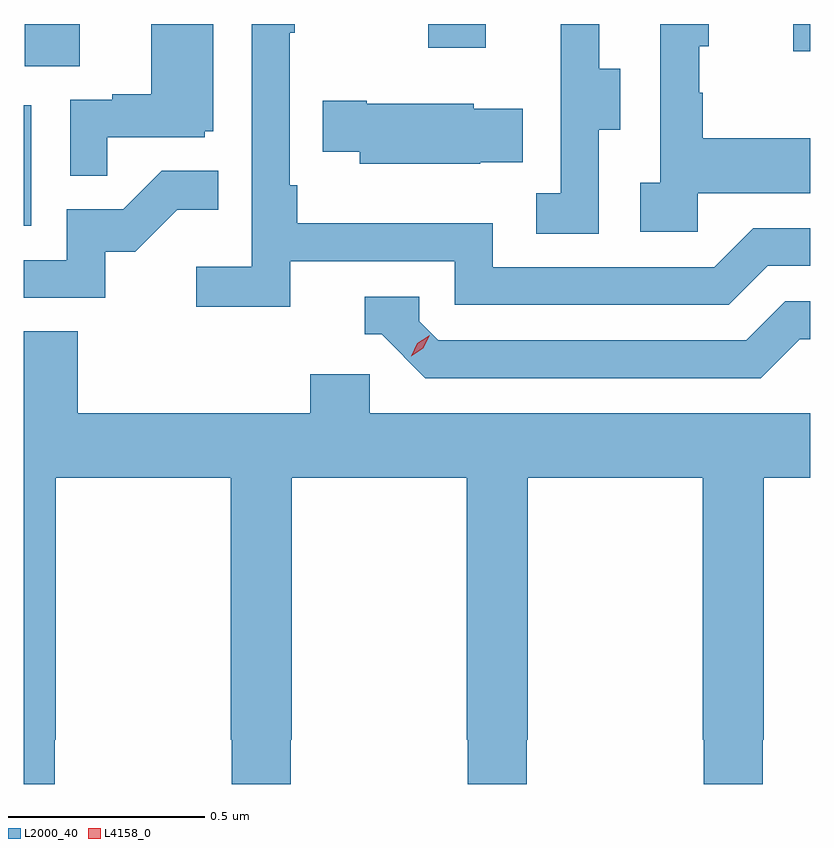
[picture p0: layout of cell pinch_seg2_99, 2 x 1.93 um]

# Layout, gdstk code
import gdstk
lib = gdstk.Library(unit=1e-6, precision=1e-09)
def R(c, l, rs):  # rectangles x0, y0, x1, y1
    for r in rs: c.add(gdstk.rectangle(r[:2], r[2:], *l))
def P(c, l, *ps):  # polygons
    for p in ps: c.add(gdstk.Polygon(p, *l))
L2000_40 = (2000, 40)
L4158_0 = (4158, 0)

pinch_seg2_99 = lib.new_cell('pinch_seg2_99')
R(pinch_seg2_99, L2000_40, [(1036.814,632.292,1036.834,632.599), (1036.817,632.698,1036.957,632.805), (1038.77,632.736,1038.814,632.805), (1037.842,632.745,1037.989,632.805)])
P(pinch_seg2_99, L2000_40, [(1037.492,632.202),(1037.91,632.202),(1037.91,632.091),(1038.607,632.091),(1038.706,632.19),(1038.814,632.19),(1038.814,632.286),(1038.669,632.286),(1038.57,632.187),(1038.006,632.187),(1038.006,632.299),(1037.51,632.299),(1037.51,632.395),(1037.49,632.395),(1037.49,632.783),(1037.503,632.783),(1037.503,632.805),(1037.394,632.805),(1037.394,632.188),(1037.253,632.188),(1037.253,632.086),(1037.492,632.086)],
  [(1038.528,632.375),(1038.814,632.375),(1038.814,632.515),(1038.541,632.515),(1038.541,632.63),(1038.531,632.63),(1038.531,632.748),(1038.556,632.748),(1038.556,632.805),(1038.432,632.805),(1038.432,632.402),(1038.381,632.402),(1038.381,632.277),(1038.528,632.277)],
  [(1038.276,632.536),(1038.331,632.536),(1038.331,632.691),(1038.277,632.691),(1038.277,632.805),(1038.179,632.805),(1038.179,632.679),(1038.18,632.679),(1038.18,632.375),(1038.117,632.375),(1038.117,632.272),(1038.276,632.272)],
  [(1037.027,632.517),(1037.274,632.517),(1037.274,632.532),(1037.296,632.532),(1037.296,632.805),(1037.138,632.805),(1037.138,632.626),(1037.039,632.626),(1037.039,632.613),(1036.932,632.613),(1036.932,632.419),(1037.027,632.419)],
  [(1037.975,632.453),(1038.083,632.453),(1038.083,632.59),(1037.958,632.59),(1037.958,632.602),(1037.686,632.602),(1037.686,632.61),(1037.575,632.61),(1037.575,632.48),(1037.669,632.48),(1037.669,632.45),(1037.975,632.45)],
  [(1037.022,632.226),(1037.098,632.226),(1037.205,632.333),(1037.309,632.333),(1037.309,632.432),(1037.165,632.432),(1037.067,632.334),(1036.923,632.334),(1036.923,632.205),(1036.814,632.205),(1036.814,632.109),(1037.022,632.109)],
  [(1038.787,632.004),(1038.814,632.004),(1038.814,632.1),(1038.75,632.1),(1038.651,632.001),(1037.868,632.001),(1037.82,632.049),(1037.82,632.112),(1037.681,632.112),(1037.681,632.016),(1037.724,632.016),(1037.835,631.905),(1038.688,631.905)],
  [(1037.694,631.914),(1037.543,631.914),(1037.543,631.816),(1036.952,631.816),(1036.952,632.024),(1036.814,632.024),(1036.814,630.873),(1036.893,630.873),(1036.893,630.985),(1036.896,630.985),(1036.896,631.652),(1037.341,631.652),(1037.341,630.985),(1037.343,630.985),(1037.343,630.873),(1037.493,630.873),(1037.493,630.985),(1037.496,630.985),(1037.496,631.652),(1037.941,631.652),(1037.941,630.985),(1037.943,630.985),(1037.943,630.873),(1038.093,630.873),(1038.093,630.985),(1038.096,630.985),(1038.096,631.652),(1038.541,631.652),(1038.541,630.985),(1038.543,630.985),(1038.543,630.873),(1038.693,630.873),(1038.693,630.985),(1038.696,630.985),(1038.696,631.652),(1038.814,631.652),(1038.814,631.816),(1037.694,631.816)])
P(pinch_seg2_99, L4158_0, [(1037.799,631.961),(1037.799,631.961),(1037.815,631.994),(1037.846,632.014),(1037.846,632.014),(1037.846,632.014),(1037.83,631.981),(1037.799,631.961)])

lib.write_gds('pinch_seg2_99.gds')
